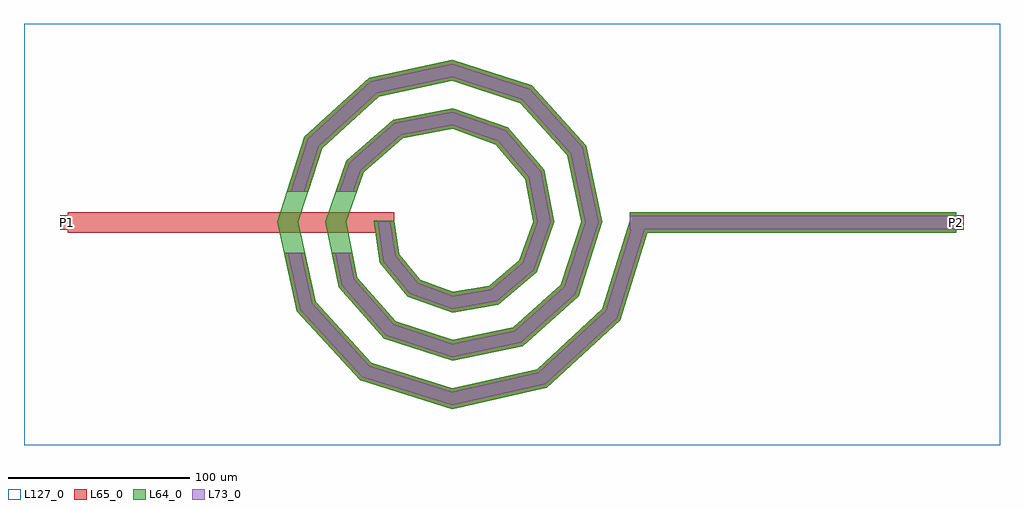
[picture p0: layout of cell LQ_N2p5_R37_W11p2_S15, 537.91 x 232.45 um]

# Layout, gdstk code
import gdstk
lib = gdstk.Library(unit=1e-6, precision=1e-09)
def R(c, l, rs):  # rectangles x0, y0, x1, y1
    for r in rs: c.add(gdstk.rectangle(r[:2], r[2:], *l))
def P(c, l, *ps):  # polygons
    for p in ps: c.add(gdstk.Polygon(p, *l))
L64_0 = (64, 0)
L65_0 = (65, 0)
L73_0 = (73, 0)
L127_0 = (127, 0)

lq_n2p5_r37_w11p2_s15 = lib.new_cell('LQ_N2p5_R37_W11p2_S15')
R(lq_n2p5_r37_w11p2_s15, L64_0, [(98.083,-5.6,278.083,5.6)])
P(lq_n2p5_r37_w11p2_s15, L64_0, [(-29.027,-17.452),(-17.542,-31.522),(0.541,-38.277),(20.688,-34.802),(37.216,-20.919),(44.897,0.47),(40.568,23.942),(24.281,42.921),(0.416,51.519),(-27.21,46.328),(-48.634,27.632),(-58.142,0.373),(-52.084,-30.487),(-30.976,-54.351),(0.338,-64.766),(33.771,-57.837),(60.072,-34.315),(71.39,0.309),(63.587,37.059),(37.65,65.796),(0.285,78.014),(-40.352,69.336),(-71.522,40.981),(-84.639,0.264),(-75.083,-43.647),(-44.31,-77.25),(0.246,-91.264),(46.944,-80.829),(82.98,-47.637),(98.336,1.665),(109.029,-1.665),(92.779,-53.838),(52.321,-91.104),(0.246,-102.85),(-50.539,-87.032),(-85.374,-48.993),(-96.224,0.264),(-81.284,47.242),(-45.663,79.645),(0.285,89.597),(43.948,75.534),(73.918,42.329),(82.971,0.309),(69.783,-40.657),(38.992,-68.193),(0.338,-76.344),(-37.37,-64.028),(-62.47,-35.65),(-69.716,0.373),(-58.27,34.088),(-32.302,56.75),(0.416,63.088),(30.814,52.506),(51.034,28.944),(56.459,0.47),(46.735,-27.55),(25.573,-45.325),(0.541,-49.828),(-24.302,-40.953),(-39.623,-22.183),(-42.96,0.866),(-31.894,0.866)])
R(lq_n2p5_r37_w11p2_s15, L65_0, [(-211.827,-5.6,-31.827,5.6), (98.083,-5.6,278.083,5.6), (-215.827,-4,-207.827,4), (274.083,-4,282.083,4)])
P(lq_n2p5_r37_w11p2_s15, L65_0, [(-75.083,-43.647),(-44.31,-77.25),(0.246,-91.264),(46.945,-80.829),(82.98,-47.637),(98.336,1.665),(109.029,-1.665),(92.779,-53.838),(52.321,-91.104),(0.246,-102.85),(-50.539,-87.032),(-85.374,-48.993),(-92.465,-16.8),(-80.997,-16.8)],
  [(-52.084,-30.487),(-30.977,-54.351),(0.338,-64.766),(33.771,-57.837),(60.072,-34.315),(71.39,0.309),(63.587,37.059),(37.65,65.796),(0.285,78.014),(-40.352,69.336),(-71.523,40.981),(-79.213,16.8),(-90.965,16.8),(-81.284,47.242),(-45.663,79.645),(0.285,89.598),(43.948,75.535),(73.918,42.33),(82.971,0.309),(69.783,-40.657),(38.992,-68.193),(0.338,-76.344),(-37.37,-64.028),(-62.47,-35.65),(-66.262,-16.8),(-54.838,-16.8)],
  [(-17.542,-31.522),(0.541,-38.277),(20.688,-34.802),(37.216,-20.919),(44.897,0.47),(40.568,23.942),(24.281,42.921),(0.416,51.519),(-27.21,46.328),(-48.634,27.632),(-52.311,16.8),(-64.139,16.8),(-58.27,34.088),(-32.302,56.75),(0.416,63.088),(30.814,52.506),(51.034,28.944),(56.459,0.47),(46.735,-27.55),(25.574,-45.325),(0.541,-49.828),(-24.302,-40.954),(-39.623,-22.183),(-42.96,0.866),(-31.894,0.866),(-29.027,-17.452)])
R(lq_n2p5_r37_w11p2_s15, L73_0, [(98.083,-3.6,278.083,3.6)])
P(lq_n2p5_r37_w11p2_s15, L73_0, [(-76.921,-44.602),(-45.422,-78.997),(0.158,-93.333),(47.905,-82.664),(84.729,-48.744),(100.246,1.071),(107.12,-1.071),(91.029,-52.73),(51.361,-89.269),(0.158,-100.781),(-49.426,-85.285),(-83.536,-48.039),(-90.417,-16.8),(-83.045,-16.8)],
  [(-53.939,-31.409),(-32.118,-56.079),(0.217,-66.833),(34.703,-59.686),(61.806,-35.448),(73.458,0.199),(65.432,38.001),(38.774,67.535),(0.183,80.083),(-41.3,71.177),(-73.266,42.099),(-81.311,16.8),(-88.867,16.8),(-79.541,46.124),(-44.714,77.804),(0.183,87.529),(42.823,73.796),(72.073,41.388),(80.903,0.199),(68.049,-39.524),(38.06,-66.344),(0.217,-74.276),(-36.228,-62.3),(-60.615,-34.728),(-64.222,-16.8),(-56.878,-16.8)],
  [(-18.749,-33.207),(0.348,-40.339),(21.56,-36.681),(38.916,-22.103),(46.962,0.302),(42.437,24.836),(25.448,44.633),(0.268,53.585),(-28.12,48.189),(-50.354,28.785),(-54.424,16.8),(-62.027,16.8),(-56.549,32.936),(-31.393,54.889),(0.268,61.022),(29.648,50.795),(49.165,28.051),(54.395,0.302),(45.036,-26.366),(24.701,-43.446),(0.348,-47.766),(-23.095,-39.269),(-37.731,-21.338),(-40.984,0.557),(-33.87,0.557),(-30.92,-18.297)])
R(lq_n2p5_r37_w11p2_s15, L127_0, [(-235.827,-122.85,302.083,109.598)])
lq_n2p5_r37_w11p2_s15.add(gdstk.Label('P2', (278.083,0), layer=65, texttype=0))
lq_n2p5_r37_w11p2_s15.add(gdstk.Label('P1', (-211.827,0), layer=65, texttype=0))
lq_n2p5_r37_w11p2_s15.add(gdstk.Label('P2', (282.083,0), layer=145, texttype=0))
lq_n2p5_r37_w11p2_s15.add(gdstk.Label('P1', (-215.827,0), layer=145, texttype=0))

lib.write_gds('LQ_N2p5_R37_W11p2_S15.gds')
